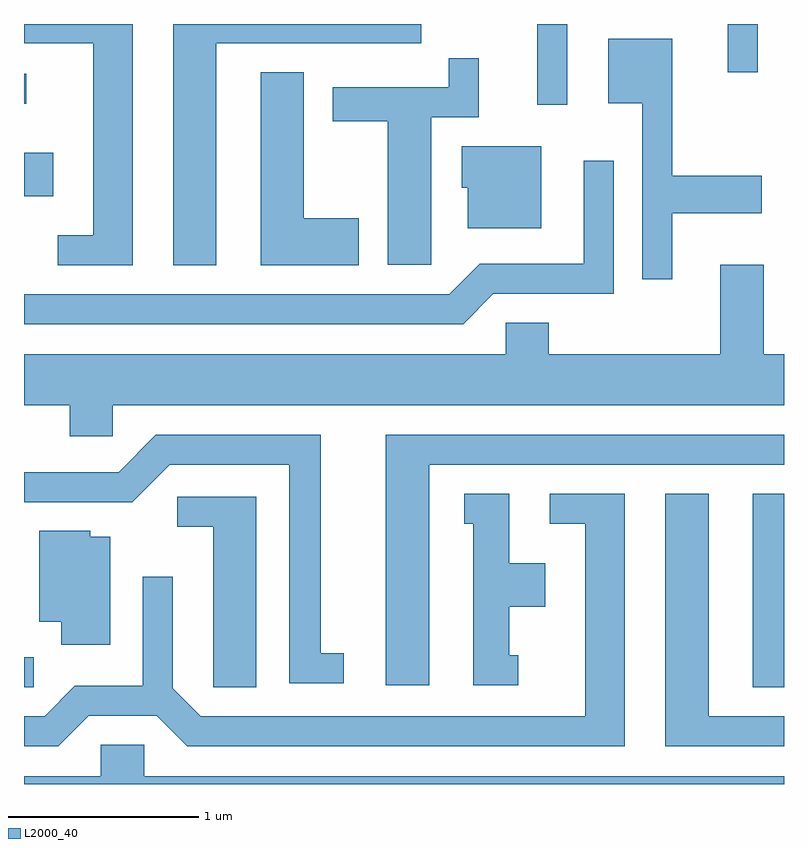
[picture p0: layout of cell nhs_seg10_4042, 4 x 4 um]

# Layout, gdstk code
import gdstk
lib = gdstk.Library(unit=1e-6, precision=1e-09)
def R(c, l, rs):  # rectangles x0, y0, x1, y1
    for r in rs: c.add(gdstk.rectangle(r[:2], r[2:], *l))
def P(c, l, *ps):  # polygons
    for p in ps: c.add(gdstk.Polygon(p, *l))
L2000_40 = (2000, 40)

nhs_seg10_4042 = lib.new_cell('nhs_seg10_4042')
R(nhs_seg10_4042, L2000_40, [(303.611,2179.031,303.663,2179.189), (307.446,2179.031,307.611,2180.049), (303.611,2181.616,303.764,2181.844), (306.311,2182.098,306.469,2182.522), (303.611,2182.101,303.623,2182.259), (307.316,2182.268,307.474,2182.522)])
P(nhs_seg10_4042, L2000_40, [(304.624,2182.421),(305.703,2182.421),(305.703,2182.522),(304.396,2182.522),(304.396,2181.251),(304.624,2181.251)],
  [(304.184,2182.522),(303.611,2182.522),(303.611,2182.421),(303.976,2182.421),(303.976,2181.409),(303.788,2181.409),(303.788,2181.251),(304.184,2181.251)],
  [(307.024,2181.526),(307.494,2181.526),(307.494,2181.724),(307.024,2181.724),(307.024,2182.444),(306.686,2182.444),(306.686,2182.106),(306.866,2182.106),(306.866,2181.178),(307.024,2181.178)],
  [(305.754,2182.031),(306.004,2182.031),(306.004,2182.343),(305.846,2182.343),(305.846,2182.189),(305.236,2182.189),(305.236,2182.011),(305.526,2182.011),(305.526,2181.256),(305.754,2181.256)],
  [(305.374,2181.499),(305.084,2181.499),(305.084,2182.269),(304.856,2182.269),(304.856,2181.251),(305.374,2181.251)],
  [(306.334,2181.879),(305.916,2181.879),(305.916,2181.661),(305.946,2181.661),(305.946,2181.446),(306.334,2181.446)],
  [(306.082,2181.101),(306.714,2181.101),(306.714,2181.803),(306.556,2181.803),(306.556,2181.259),(306.009,2181.259),(305.849,2181.099),(303.611,2181.099),(303.611,2180.941),(305.922,2180.941)],
  [(304.079,2180.516),(307.611,2180.516),(307.611,2180.784),(307.504,2180.784),(307.504,2181.254),(307.276,2181.254),(307.276,2180.784),(306.374,2180.784),(306.374,2180.949),(306.146,2180.949),(306.146,2180.784),(303.611,2180.784),(303.611,2180.516),(303.851,2180.516),(303.851,2180.351),(304.079,2180.351)],
  [(305.293,2179.209),(305.174,2179.209),(305.174,2180.359),(304.304,2180.359),(304.109,2180.164),(303.611,2180.164),(303.611,2180.006),(304.182,2180.006),(304.377,2180.201),(305.006,2180.201),(305.006,2179.051),(305.293,2179.051)],
  [(305.744,2180.201),(307.611,2180.201),(307.611,2180.359),(305.516,2180.359),(305.516,2179.041),(305.744,2179.041)],
  [(306.213,2179.199),(306.164,2179.199),(306.164,2179.456),(306.354,2179.456),(306.354,2179.684),(306.164,2179.684),(306.164,2180.049),(305.928,2180.049),(305.928,2179.891),(305.976,2179.891),(305.976,2179.041),(306.213,2179.041)],
  [(303.952,2178.881),(304.309,2178.881),(304.469,2178.721),(306.774,2178.721),(306.774,2180.049),(306.378,2180.049),(306.378,2179.891),(306.566,2179.891),(306.566,2178.879),(304.542,2178.879),(304.394,2179.027),(304.394,2179.613),(304.236,2179.613),(304.236,2179.039),(303.879,2179.039),(303.719,2178.879),(303.611,2178.879),(303.611,2178.721),(303.792,2178.721)],
  [(307.611,2178.879),(307.214,2178.879),(307.214,2180.049),(306.986,2180.049),(306.986,2178.721),(307.611,2178.721)],
  [(304.834,2180.034),(304.418,2180.034),(304.418,2179.876),(304.606,2179.876),(304.606,2179.031),(304.834,2179.031)],
  [(304.064,2179.824),(303.959,2179.824),(303.959,2179.854),(303.691,2179.854),(303.691,2179.376),(303.806,2179.376),(303.806,2179.256),(304.064,2179.256)],
  [(307.611,2178.564),(304.244,2178.564),(304.244,2178.729),(304.016,2178.729),(304.016,2178.564),(303.611,2178.564),(303.611,2178.522),(307.611,2178.522)])

lib.write_gds('nhs_seg10_4042.gds')
